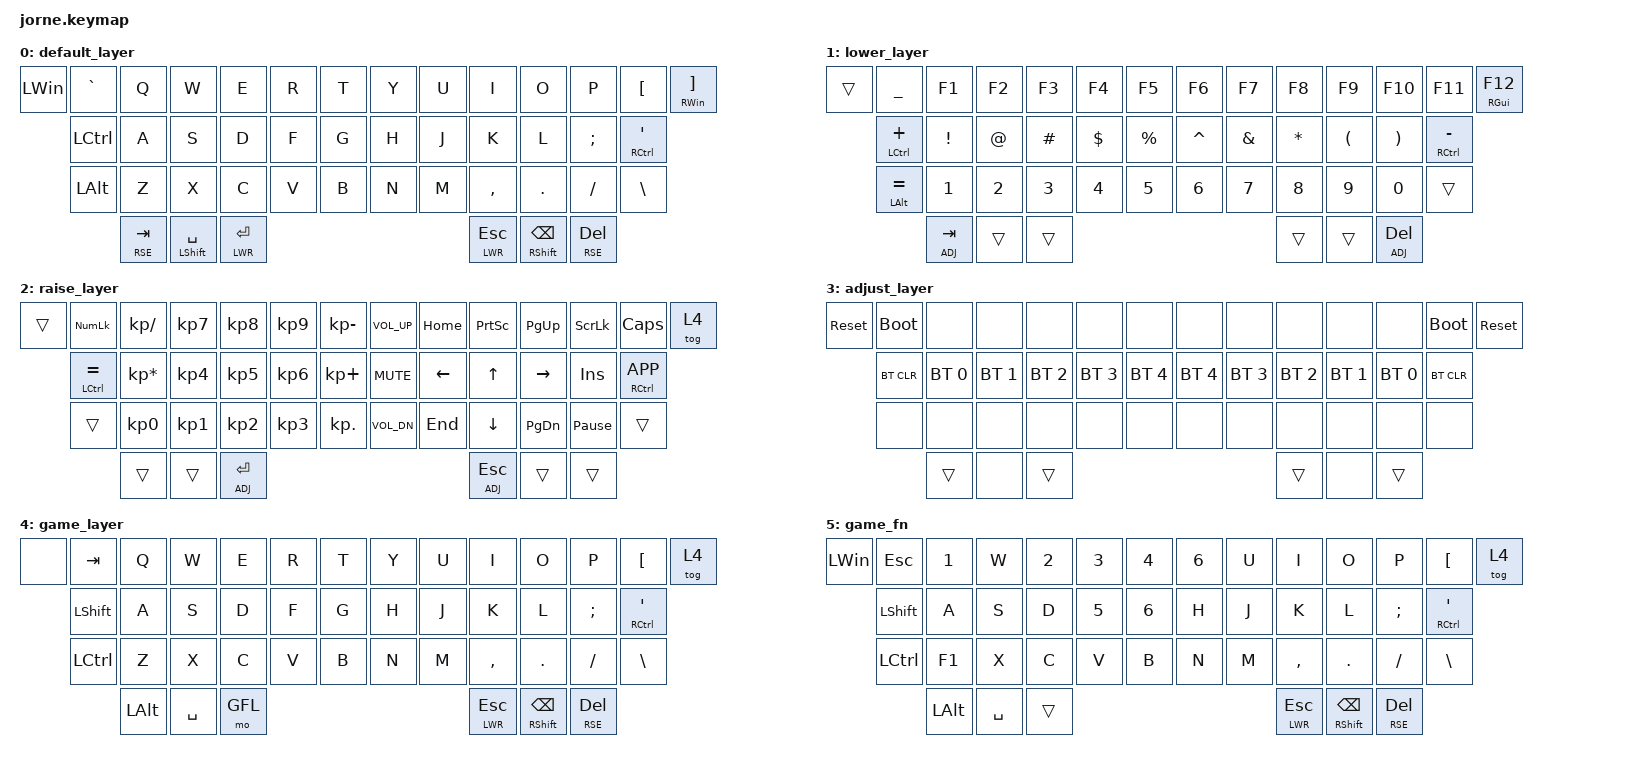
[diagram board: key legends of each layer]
/*
 * Copyright (c) 2020 The ZMK Contributors
 *
 * SPDX-License-Identifier: MIT
 */

#include <behaviors.dtsi>
#include <dt-bindings/zmk/keys.h>
#include <dt-bindings/zmk/bt.h>

#define DEF 0
#define LWR 1
#define RSE 2
#define ADJ 3
#define GAM 4
#define GFL 5

/ {
        keymap {
                compatible = "zmk,keymap";

                default_layer {
// -----------------------------------------------------------------------------------------
// |  GUI |   ~  |  Q  |  W  |  E  |  R  |  T  |   |  Y  |  U   |  I  |  O  |  P  |  [   | GUI/] |
//        | CTRL |  A  |  S  |  D  |  F  |  G  |   |  H  |  J   |  K  |  L  |  ;  |CTRL/'|
//        | LALT |  Z  |  X  |  C  |  V  |  B  |   |  N  |  M   |  ,  |  .  |  /  | RALT |
//                           | RSE | SPC | LWR |   | LWR | BKSP | RSE |
                        bindings = <
   &kp LWIN &kp GRAVE &kp Q &kp W &kp E &kp R &kp T &kp Y         &kp U  &kp I     &kp O   &kp P    &kp LBKT &mt RWIN RBKT
            &kp LCTRL &kp A &kp S &kp D &kp F &kp G &kp H         &kp J  &kp K     &kp L   &kp SEMI &mt RCTRL SQT
            &kp LALT  &kp Z &kp X &kp C &kp V &kp B &kp N         &kp M  &kp COMMA &kp DOT &kp FSLH &kp BSLH
                         &lt RSE TAB &mt LSHFT SPACE &lt LWR RET &lt LWR ESC &mt RSHFT BSPC &lt RSE DEL
                        >;
                };
                lower_layer {
// -----------------------------------------------------------------------------------------
// |     |  _  |  F1 |  F2 |  F3 |  F4 |  F5 |   |  F6 |  F7 |  F8 |  F9 | F10 | F11 | F12 |
//       |  +  |  !  |  @  |  #  |  $  |  %  |   |  ^  |  &  |  *  |  (  |  )  |  -  |
//       |  =  |  1  |  2  |  3  |  4  |  5  |   |  6  |  7  |  8  |  9  |  0  |     |
//                    | GUI |     | SPC |   | ENT |     | ALT |
                        bindings = <
   &trans &kp UNDER      &kp F1   &kp F2 &kp F3   &kp F4   &kp F5           &kp F6    &kp F7   &kp F8   &kp F9   &kp F10  &kp F11 &mt RGUI F12
          &mt LCTRL PLUS &kp EXCL &kp AT &kp HASH &kp DLLR &kp PRCNT        &kp CARET &kp AMPS &kp STAR &kp LPAR &kp RPAR &mt RCTRL MINUS
          &mt LALT EQUAL &kp N1   &kp N2 &kp N3   &kp N4   &kp N5           &kp N6    &kp N7   &kp N8   &kp N9   &kp N0   &trans
                                              &lt ADJ TAB &trans &trans   &trans &trans &lt ADJ DEL
                        >;
                };

                raise_layer {
// -----------------------------------------------------------------------------------------
// |     | NMLK |  /  |  7  |  8  |  9  |  -  |   | VOLU| HOME| PRSC| PGUP| SCLK| CLCK|     |
//       | CTRL |  *  |  4  |  5  |  6  |  +  |   | MUT | LEFT|  UP | RGHT| INS | APP |
//       |      |  0  |  1  |  2  |  3  |  .  |   | VOLD| END | DOWN| PGDN| PAUS|     |
//                          |     |     | ADJ |   | ADJ |     |     |
                        bindings = <
   &trans &kp KP_NUM      &kp KP_SLASH    &kp KP_N7 &kp KP_N8 &kp KP_N9 &kp KP_MINUS        &kp C_VOL_UP &kp HOME &kp PSCRN &kp PG_UP &kp SLCK &kp CAPS &tog 4
          &mt LCTRL EQUAL &kp KP_MULTIPLY &kp KP_N4 &kp KP_N5 &kp KP_N6 &kp KP_PLUS         &kp C_MUTE   &kp LEFT &kp UP    &kp RIGHT &kp INS  &mt RCTRL K_APP
          &trans          &kp KP_N0       &kp KP_N1 &kp KP_N2 &kp KP_N3 &kp KP_DOT          &kp C_VOL_DN &kp END  &kp DOWN  &kp PG_DN &kp PAUSE_BREAK &trans
                                                           &trans &trans &lt ADJ RET   &lt ADJ ESC &trans &trans
                        >;
                };
                adjust_layer {
// -----------------------------------------------------------------------------------------
// | RST | BLDR |     |     |     |     |     |   |     |     |     |     |     | BLDR | RST |
//       | BTCLR| BT0 | BT1 | BT2 | BT3 | BT4 |   | BT4 | BT3 | BT2 | BT1 | BT0 | BTCLR|
//       |      |     |     |     |     |     |   |     |     |     |     |     |      |
//                          |     |     |     |   |     |     |     |
                        bindings = <
   &sys_reset &bootloader  &none        &none        &none        &none        &none              &none        &none        &none        &none        &none         &bootloader &sys_reset
          &bt BT_CLR   &bt BT_SEL 0 &bt BT_SEL 1 &bt BT_SEL 2 &bt BT_SEL 3 &bt BT_SEL 4       &bt BT_SEL 4 &bt BT_SEL 3 &bt BT_SEL 2 &bt BT_SEL 1 &bt BT_SEL 0  &bt BT_CLR
          &none        &none        &none        &none        &none        &none              &none        &none        &none        &none        &none         &none
                                                                    &trans &none &trans   &trans &none &trans
                        >;
                };
                game_layer {
// -----------------------------------------------------------------------------------------
// |  GUI |  TAB |  Q  |  W  |  E  |  R  |  T  |   |  Y  |  U   |  I  |  O  |  P  |  [   | GUI/] |
//        | SHIFT |  A  |  S  |  D  |  F  |  G  |   |  H  |  J   |  K  |  L  |  ;  |CTRL/'|
//        | LCTRL |  Z  |  X  |  C  |  V  |  B  |   |  N  |  M   |  ,  |  .  |  /  | RALT |
//                           | LATL | SPC | LWR |   | LWR | BKSP | RSE |
                        bindings = <
   &none &kp TAB &kp Q &kp W &kp E &kp R &kp T &kp Y         &kp U  &kp I     &kp O   &kp P    &kp LBKT &tog 4
            &kp LSHFT &kp A &kp S &kp D &kp F &kp G &kp H         &kp J  &kp K     &kp L   &kp SEMI &mt RCTRL SQT
            &kp LCTRL  &kp Z &kp X &kp C &kp V &kp B &kp N         &kp M  &kp COMMA &kp DOT &kp FSLH &kp BSLH
                         &kp LALT &kp SPACE &mo GFL         &lt LWR ESC &mt RSHFT BSPC &lt RSE DEL
                        >;
                };
                game_fn {
// -----------------------------------------------------------------------------------------
// |  GUI |  TAB |  Q  |  W  |  E  |  R  |  T  |   |  Y  |  U   |  I  |  O  |  P  |  [   | GUI/] |
//        | SHIFT |  A  |  S  |  D  |  F  |  G  |   |  H  |  J   |  K  |  L  |  ;  |CTRL/'|
//        | LCTRL |  Z  |  X  |  C  |  V  |  B  |   |  N  |  M   |  ,  |  .  |  /  | RALT |
//                           | LATL | SPC | LWR |   | LWR | BKSP | RSE |
                        bindings = <
   &kp LWIN &kp ESC &kp N1 &kp W &kp N2 &kp N3 &kp N4             &kp N6 &kp U  &kp I     &kp O   &kp P    &kp LBKT &tog 4
            &kp LSHFT &kp A &kp S &kp D &kp N5 &kp N6            &kp H  &kp J  &kp K     &kp L   &kp SEMI &mt RCTRL SQT
            &kp LCTRL  &kp F1 &kp X &kp C &kp V &kp B              &kp N  &kp M  &kp COMMA &kp DOT &kp FSLH &kp BSLH
                         &kp LALT &kp SPACE &trans            &lt LWR ESC &mt RSHFT BSPC &lt RSE DEL
                        >;
                };
        };
};
